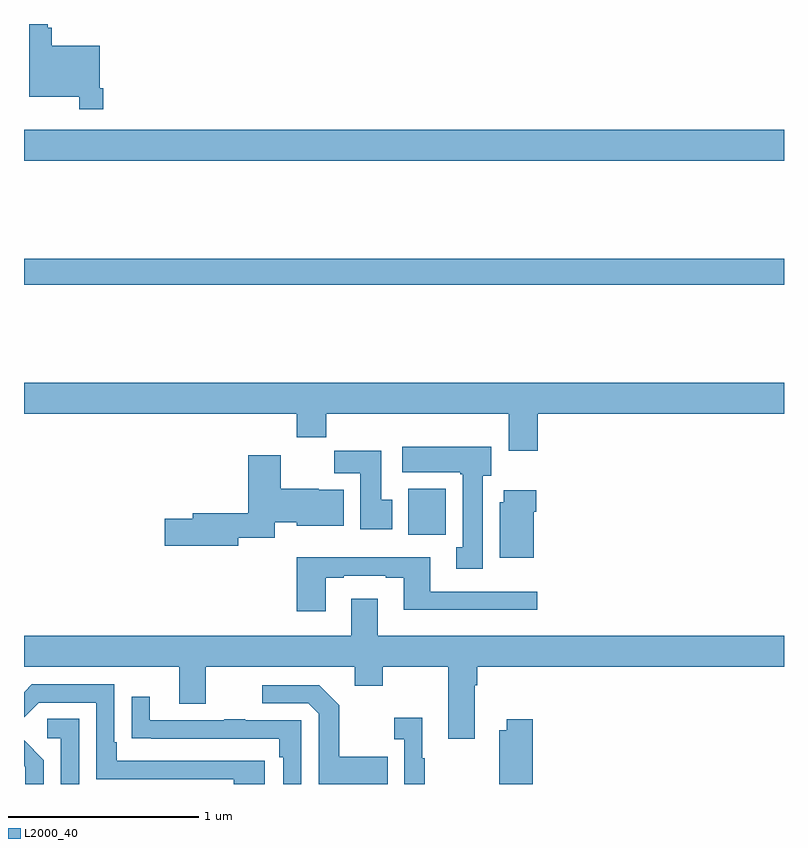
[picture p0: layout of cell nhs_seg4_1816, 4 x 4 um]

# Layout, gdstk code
import gdstk
lib = gdstk.Library(unit=1e-6, precision=1e-09)
def R(c, l, rs):  # rectangles x0, y0, x1, y1
    for r in rs: c.add(gdstk.rectangle(r[:2], r[2:], *l))
def P(c, l, *ps):  # polygons
    for p in ps: c.add(gdstk.Polygon(p, *l))
L2000_40 = (2000, 40)

nhs_seg4_1816 = lib.new_cell('nhs_seg4_1816')
R(nhs_seg4_1816, L2000_40, [(207.023,768.212,207.22,768.454), (205,769.528,209,769.664), (205,770.18,209,770.344)])
P(nhs_seg4_1816, L2000_40, [(205.418,770.563),(205.398,770.563),(205.398,770.785),(205.145,770.785),(205.145,770.881),(205.125,770.881),(205.125,770.9),(205.028,770.9),(205.028,770.516),(205.29,770.516),(205.29,770.451),(205.418,770.451)],
  [(207.704,768.848),(209,768.848),(209,769.012),(205,769.012),(205,768.848),(206.435,768.848),(206.435,768.724),(206.591,768.724),(206.591,768.848),(207.551,768.848),(207.551,768.654),(207.704,768.654)],
  [(207.415,768.522),(207.46,768.522),(207.46,768.676),(206.991,768.676),(206.991,768.542),(207.295,768.542),(207.295,768.529),(207.308,768.529),(207.308,768.146),(207.275,768.146),(207.275,768.033),(207.415,768.033)],
  [(206.938,768.396),(206.881,768.396),(206.881,768.655),(206.632,768.655),(206.632,768.536),(206.771,768.536),(206.771,768.24),(206.938,768.24)],
  [(206.128,768.196),(206.32,768.196),(206.32,768.278),(206.436,768.278),(206.436,768.26),(206.683,768.26),(206.683,768.448),(206.55,768.448),(206.55,768.454),(206.35,768.454),(206.35,768.631),(206.18,768.631),(206.18,768.326),(205.889,768.326),(205.889,768.296),(205.74,768.296),(205.74,768.154),(206.128,768.154)],
  [(207.682,768.332),(207.695,768.332),(207.695,768.445),(207.524,768.445),(207.524,768.384),(207.503,768.384),(207.503,768.092),(207.682,768.092)],
  [(206.587,767.985),(206.683,767.985),(206.683,767.997),(206.903,767.997),(206.903,767.985),(206.999,767.985),(206.999,767.816),(207.7,767.816),(207.7,767.913),(207.139,767.913),(207.139,768.094),(206.435,768.094),(206.435,767.808),(206.587,767.808)],
  [(207.373,767.42),(207.386,767.42),(207.386,767.516),(209,767.516),(209,767.68),(206.863,767.68),(206.863,767.875),(206.723,767.875),(206.723,767.68),(205,767.68),(205,767.516),(205.817,767.516),(205.817,767.322),(205.957,767.322),(205.957,767.516),(206.741,767.516),(206.741,767.417),(206.889,767.417),(206.889,767.516),(207.233,767.516),(207.233,767.139),(207.373,767.139)],
  [(206.266,767.022),(205.489,767.022),(205.489,767.119),(205.476,767.119),(205.476,767.424),(205.041,767.424),(205,767.383),(205,767.251),(205.077,767.328),(205.38,767.328),(205.38,766.926),(206.105,766.926),(206.105,766.9),(206.266,766.9)],
  [(206.915,767.043),(206.659,767.043),(206.659,767.315),(206.553,767.421),(206.253,767.421),(206.253,767.325),(206.496,767.325),(206.55,767.271),(206.55,766.9),(206.915,766.9)],
  [(206.46,767.235),(206.165,767.235),(206.165,767.24),(206.053,767.24),(206.053,767.235),(205.663,767.235),(205.663,767.359),(205.567,767.359),(205.567,767.14),(205.669,767.14),(205.669,767.139),(206.344,767.139),(206.344,767.042),(206.364,767.042),(206.364,766.9),(206.46,766.9)],
  [(207.109,767.035),(207.097,767.035),(207.097,767.248),(206.949,767.248),(206.949,767.135),(207,767.135),(207,766.9),(207.109,766.9)],
  [(205.29,767.243),(205.122,767.243),(205.122,767.142),(205.194,767.142),(205.194,766.9),(205.29,766.9)],
  [(207.677,767.242),(207.542,767.242),(207.542,767.182),(207.502,767.182),(207.502,766.9),(207.677,766.9)],
  [(205.104,767.026),(205,767.13),(205,766.996),(205.007,766.989),(205.007,766.9),(205.104,766.9)])

lib.write_gds('nhs_seg4_1816.gds')
